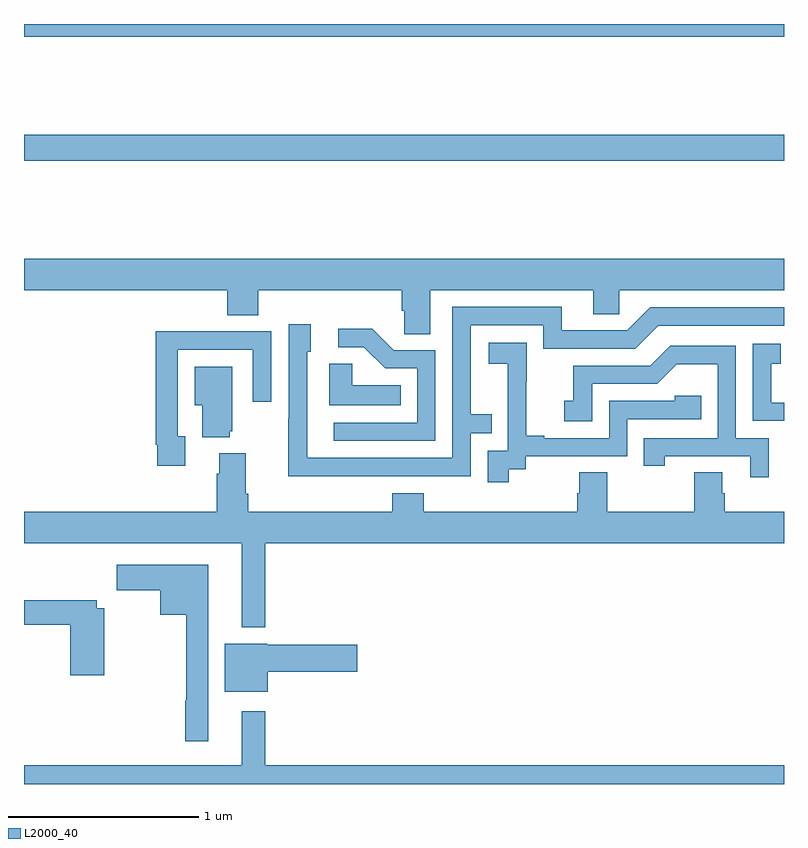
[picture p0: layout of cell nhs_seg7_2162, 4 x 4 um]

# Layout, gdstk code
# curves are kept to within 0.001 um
import gdstk
lib = gdstk.Library(unit=1e-6, precision=1e-09)
def R(c, l, rs):  # rectangles x0, y0, x1, y1
    for r in rs: c.add(gdstk.rectangle(r[:2], r[2:], *l))
def P(c, l, *ps):  # polygons
    for p in ps: c.add(gdstk.Polygon(p, *l))
L2000_40 = (2000, 40)

nhs_seg7_2162 = lib.new_cell('nhs_seg7_2162')
R(nhs_seg7_2162, L2000_40, [(253,1017.28,257,1017.416), (253,1017.932,257,1018)])
P(nhs_seg7_2162, L2000_40, [(255.139,1016.6),(255.995,1016.6),(255.995,1016.473),(256.134,1016.473),(256.134,1016.6),(257,1016.6),(257,1016.764),(253,1016.764),(253,1016.6),(254.069,1016.6),(254.069,1016.467),(254.234,1016.467),(254.234,1016.6),(254.987,1016.6),(254.987,1016.491),(255,1016.491),(255,1016.368),(255.139,1016.368)],
  [(254.855,1015.62),(255.351,1015.62),(255.351,1015.845),(255.461,1015.845),(255.461,1015.946),(255.351,1015.946),(255.351,1016.415),(255.732,1016.415),(255.732,1016.292),(256.218,1016.292),(256.338,1016.412),(257,1016.412),(257,1016.508),(256.296,1016.508),(256.176,1016.388),(255.829,1016.388),(255.829,1016.511),(255.255,1016.511),(255.255,1015.716),(254.49,1015.716),(254.49,1016.274),(254.509,1016.274),(254.509,1016.419),(254.394,1016.419),(254.394,1015.925),(254.392,1015.925),(254.392,1015.619)],
  [(255.165,1016.283),(254.946,1016.283),(254.833,1016.396),(254.655,1016.396),(254.655,1016.298),(254.789,1016.298),(254.9,1016.187),(255.069,1016.187),(255.069,1015.902),(254.631,1015.902),(254.631,1015.806),(255.165,1015.806)],
  [(253.849,1015.83),(253.809,1015.83),(253.809,1016.286),(254.205,1016.286),(254.205,1016.013),(254.301,1016.013),(254.301,1016.382),(253.985,1016.382),(253.985,1016.384),(253.693,1016.384),(253.693,1015.786),(253.701,1015.786),(253.701,1015.674),(253.849,1015.674)],
  [(255.55,1015.657),(255.642,1015.657),(255.642,1015.725),(256.176,1015.725),(256.176,1015.92),(256.565,1015.92),(256.565,1016.043),(256.425,1016.043),(256.425,1016.016),(256.08,1016.016),(256.08,1015.821),(255.739,1015.821),(255.739,1015.834),(255.644,1015.834),(255.644,1016.117),(255.645,1016.117),(255.645,1016.323),(255.447,1016.323),(255.447,1016.213),(255.545,1016.213),(255.545,1015.985),(255.546,1015.985),(255.546,1015.755),(255.441,1015.755),(255.441,1015.587),(255.55,1015.587)],
  [(257,1016.007),(256.933,1016.007),(256.933,1016.211),(256.982,1016.211),(256.982,1016.317),(256.836,1016.317),(256.836,1015.911),(257,1015.911)],
  [(256.92,1015.821),(256.746,1015.821),(256.746,1016.307),(256.4,1016.307),(256.295,1016.202),(255.892,1016.202),(255.892,1016.017),(255.843,1016.017),(255.843,1015.908),(255.99,1015.908),(255.99,1016.106),(256.332,1016.106),(256.436,1016.21),(256.65,1016.21),(256.65,1015.821),(256.261,1015.821),(256.261,1015.674),(256.372,1015.674),(256.372,1015.725),(256.823,1015.725),(256.823,1015.614),(256.92,1015.614)],
  [(254.984,1016.098),(254.727,1016.098),(254.727,1016.213),(254.606,1016.213),(254.606,1015.994),(254.984,1015.994)],
  [(254.084,1015.857),(254.095,1015.857),(254.095,1016.197),(253.898,1016.197),(253.898,1015.994),(253.937,1015.994),(253.937,1015.826),(254.084,1015.826)],
  [(254.269,1015.268),(257,1015.268),(257,1015.432),(256.688,1015.432),(256.688,1015.53),(256.675,1015.53),(256.675,1015.64),(256.528,1015.64),(256.528,1015.432),(256.071,1015.432),(256.071,1015.64),(255.923,1015.64),(255.923,1015.53),(255.911,1015.53),(255.911,1015.432),(255.104,1015.432),(255.104,1015.531),(254.939,1015.531),(254.939,1015.432),(254.18,1015.432),(254.18,1015.528),(254.167,1015.528),(254.167,1015.741),(254.027,1015.741),(254.027,1015.634),(254.015,1015.634),(254.015,1015.432),(253,1015.432),(253,1015.268),(254.147,1015.268),(254.147,1014.824),(254.269,1014.824)],
  [(253.969,1015.153),(253.488,1015.153),(253.488,1015.019),(253.718,1015.019),(253.718,1014.89),(253.855,1014.89),(253.855,1014.437),(253.848,1014.437),(253.848,1014.225),(253.969,1014.225)],
  [(253.422,1014.925),(253.384,1014.925),(253.384,1014.967),(253,1014.967),(253,1014.838),(253.244,1014.838),(253.244,1014.573),(253.422,1014.573)],
  [(254.284,1014.592),(254.755,1014.592),(254.755,1014.734),(254.28,1014.734),(254.28,1014.739),(254.057,1014.739),(254.057,1014.485),(254.284,1014.485)],
  [(257,1014.1),(254.269,1014.1),(254.269,1014.382),(254.147,1014.382),(254.147,1014.1),(253,1014.1),(253,1014),(257,1014)])

lib.write_gds('nhs_seg7_2162.gds')
